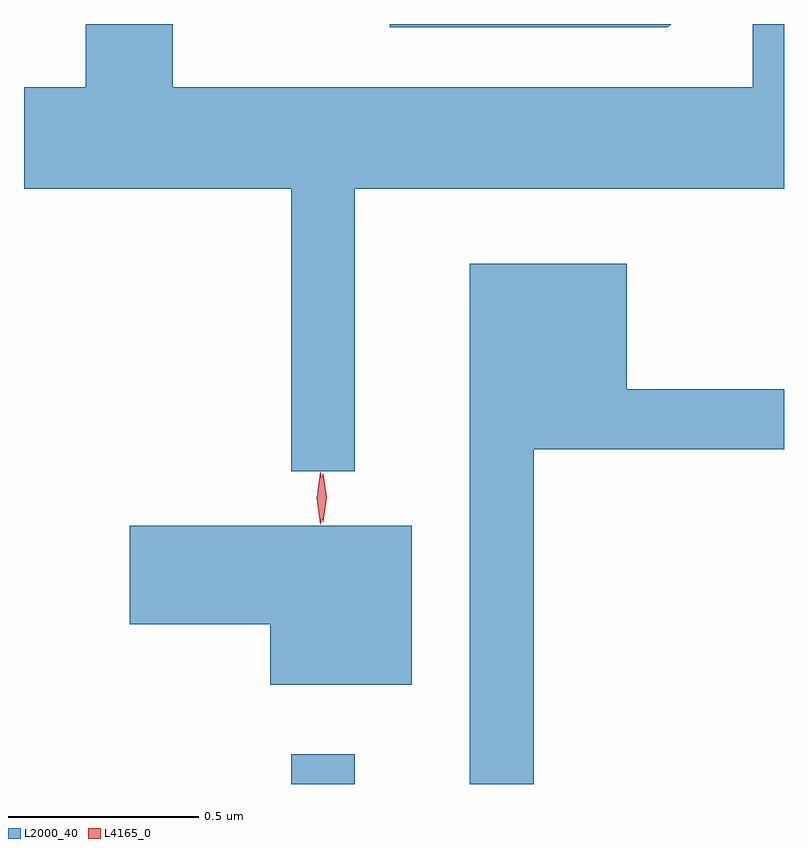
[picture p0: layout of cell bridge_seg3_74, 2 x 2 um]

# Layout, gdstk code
import gdstk
lib = gdstk.Library(unit=1e-6, precision=1e-09)
def R(c, l, rs):  # rectangles x0, y0, x1, y1
    for r in rs: c.add(gdstk.rectangle(r[:2], r[2:], *l))
def P(c, l, *ps):  # polygons
    for p in ps: c.add(gdstk.Polygon(p, *l))
L2000_40 = (2000, 40)
L4165_0 = (4165, 0)

bridge_seg3_74 = lib.new_cell('bridge_seg3_74')
R(bridge_seg3_74, L2000_40, [(1141.461,1179.95,1141.629,1180.028)])
P(bridge_seg3_74, L2000_40, [(1141.629,1181.516),(1142.758,1181.516),(1142.758,1181.949),(1142.676,1181.949),(1142.676,1181.784),(1141.149,1181.784),(1141.149,1181.95),(1140.921,1181.95),(1140.921,1181.784),(1140.758,1181.784),(1140.758,1181.516),(1141.461,1181.516),(1141.461,1180.773),(1141.629,1180.773)],
  [(1142.461,1181.95),(1141.721,1181.95),(1141.721,1181.941),(1142.452,1181.941)],
  [(1142.099,1180.831),(1142.758,1180.831),(1142.758,1180.989),(1142.344,1180.989),(1142.344,1181.319),(1141.931,1181.319),(1141.931,1179.95),(1142.099,1179.95)],
  [(1141.779,1180.629),(1141.036,1180.629),(1141.036,1180.371),(1141.406,1180.371),(1141.406,1180.211),(1141.779,1180.211)])
P(bridge_seg3_74, L4165_0, [(1141.538,1180.634),(1141.538,1180.634),(1141.528,1180.702),(1141.538,1180.77),(1141.538,1180.77),(1141.539,1180.77),(1141.548,1180.702),(1141.539,1180.634)],
  [(1141.544,1180.64),(1141.535,1180.704),(1141.544,1180.766),(1141.545,1180.767),(1141.545,1180.766),(1141.555,1180.704),(1141.545,1180.64),(1141.545,1180.64)])

lib.write_gds('bridge_seg3_74.gds')
